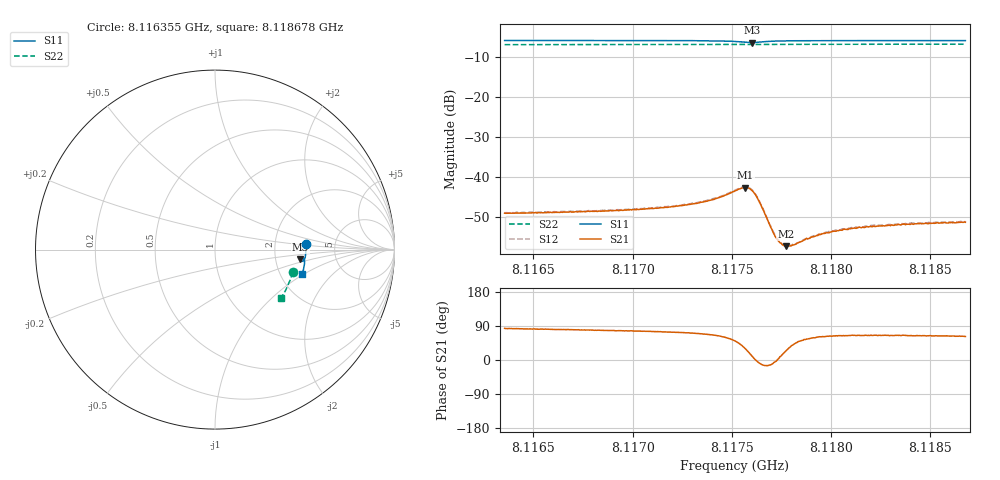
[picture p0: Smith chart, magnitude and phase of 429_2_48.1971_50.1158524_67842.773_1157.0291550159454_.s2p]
#  HZ  S  RI  R  50.00
! Rohde & Schwarz Vector Network Analyzer
! Rohde-Schwarz,ZNB20-2Port,1311601062101988,3.16
! Created: UTC 3/20/2024, 11:55:15 AM
! freq[Hz]  re:S11  im:S11  re:S21  im:S21  re:S12  im:S12  re:S22  im:S22
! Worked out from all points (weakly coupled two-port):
!   401 points, 8.116355 GHz to 8.118678 GHz, reference 50 ohm
!   highest |S21| = -42.55 dB at 8.117569 GHz (marker M1); lowest = -57.2 dB at 8.117772 GHz (marker M2)
!   lowest |S11| = -6.4 dB at 8.117603 GHz (marker M3), VSWR 2.83, Z = 138 - j19.2 ohm
!   |S11| at or under -10 dB: nowhere
!   |S22| runs from -6.9 to -6.8 dB; largest |S21 - S12| = 0.00019
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8.1163549e9  0.5062 0.0321  0.000402 0.00355  0.000502 0.0036  0.4319 -0.1251
8.116744e9  0.5066 0.00256  0.000686 0.00366  0.000752 0.00374  0.4246 -0.1515
8.1171331e9  0.5049 -0.028  0.0011 0.00398  0.00116 0.00404  0.416 -0.1768
8.1172434e9  0.5036 -0.0374  0.00134 0.00423  0.00141 0.00424  0.4129 -0.1841
8.1173654e9  0.5011 -0.0486  0.00185 0.00464  0.00194 0.0047  0.4096 -0.1922
8.1174525e9  0.4968 -0.0578  0.00278 0.00507  0.00287 0.00516  0.4069 -0.1979
8.1175164e9  0.4893 -0.064  0.00433 0.00521  0.00447 0.00526  0.405 -0.2019
8.1175686e9  0.478 -0.0625  0.00648 0.00369  0.00661 0.00374  0.4031 -0.2049
8.117586e9  0.4753 -0.0586  0.00686 0.0025  0.00703 0.0025  0.4023 -0.2056
8.1176035e9  0.4749 -0.0534  0.00669 0.00111  0.00686 0.00108  0.4019 -0.2063
8.1176209e9  0.4774 -0.0489  0.00599 -4.25e-05  0.00608 -0.000118  0.4015 -0.2072
8.1176383e9  0.4816 -0.0465  0.00494 -0.000688  0.00507 -0.000755  0.4016 -0.2083
8.1176964e9  0.4932 -0.0497  0.00232 -0.000526  0.00242 -0.000534  0.4002 -0.2119
8.1177196e9  0.4955 -0.0529  0.00182 -0.000146  0.00187 -0.000158  0.3995 -0.2135
8.1177428e9  0.497 -0.0559  0.00151 0.000229  0.00155 0.000163  0.3989 -0.2151
8.1177719e9  0.4981 -0.0594  0.00127 0.000544  0.0013 0.000583  0.3979 -0.217
8.1178125e9  0.4988 -0.0641  0.00108 0.00095  0.00114 0.000969  0.3969 -0.2196
8.1179054e9  0.4988 -0.0733  0.000944 0.00154  0.000991 0.00154  0.3937 -0.2257
8.1179519e9  0.4985 -0.0777  0.000941 0.00171  0.000949 0.00174  0.3924 -0.2284
8.1180564e9  0.4975 -0.0865  0.000967 0.00196  0.00101 0.00204  0.3888 -0.2349
8.1182945e9  0.494 -0.1052  0.0011 0.00228  0.00113 0.00233  0.3804 -0.2496
8.1186778e9  0.4869 -0.1337  0.00129 0.00243  0.00131 0.00251  0.3658 -0.2721
